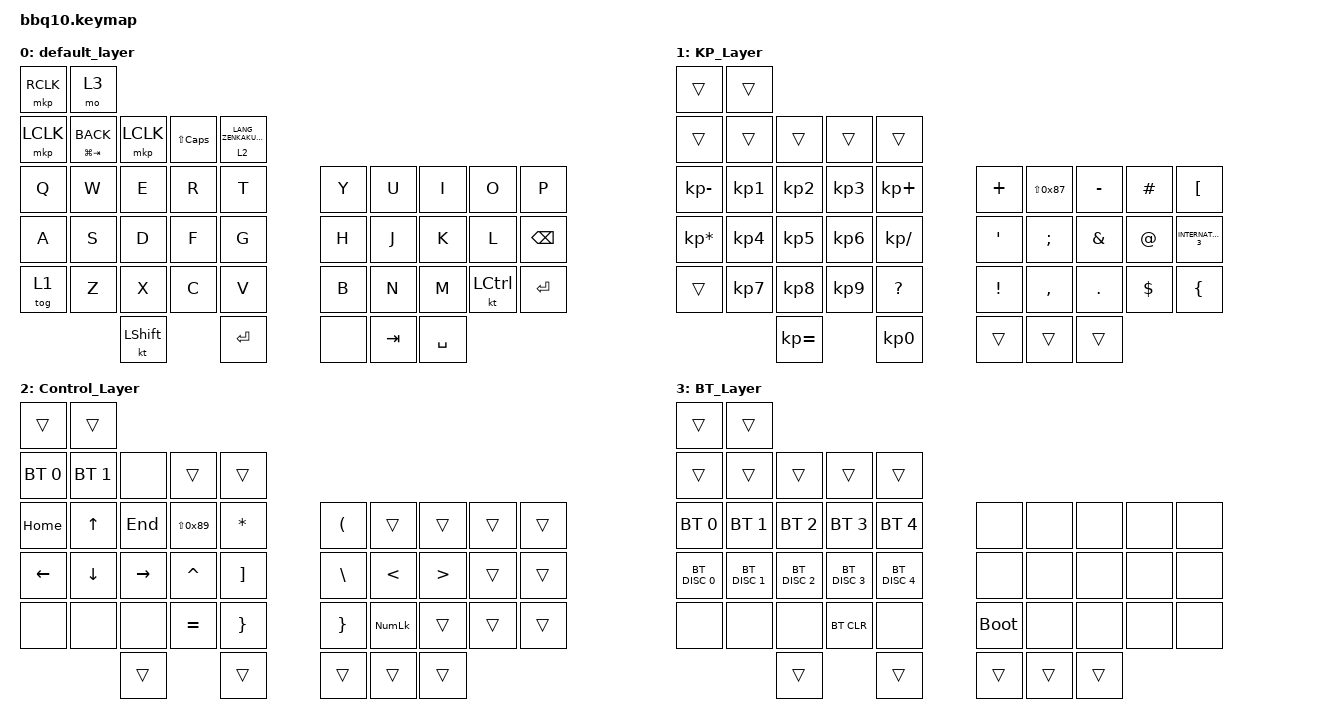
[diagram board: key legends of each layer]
/*
 * Copyright (c) 2023 ZitaoTech
 *
 * SPDX-License-Identifier: MIT
 */

#include <dt-bindings/zmk/mouse.h>
#include <behaviors.dtsi>
#include <dt-bindings/zmk/bt.h>
#include <dt-bindings/zmk/ext_power.h>
#include <dt-bindings/zmk/keys.h>
#include <dt-bindings/zmk/outputs.h>

// #include <dt-bindings/zmk/pointing.h>

#define SYM 1
#define UPPER 2
#define JP_DQUOTE       AT                // "
#define JP_AMPERSAND    CARET             // &
#define JP_QUOTE        AMPERSAND         // '
#define JP_EQUAL        UNDER             // =
#define JP_CARET        EQUAL             // ^
#define JP_YEN          0x89              // ¥
#define JP_PLUS         COLON             // +
#define JP_TILDE        PLUS              // ~
#define JP_PIPE         LS(0x89)          // |
#define JP_AT           LEFT_BRACKET      // @
#define JP_COLON        SINGLE_QUOTE      // :
#define JP_ASTERISK     DOUBLE_QUOTES     // *
#define JP_BACKQUOTE    LEFT_BRACE        // `
#define JP_UNDERSCORE   LS(0x87)          // _
#define JP_LBRACKET     RIGHT_BRACKET     // [
#define JP_RBRACKET     BACKSLASH         // ]
#define JP_LPAREN       ASTERISK          // (
#define JP_RPAREN       LEFT_PARENTHESIS  // )
#define JP_LBRACE       RIGHT_BRACE       // {
#define JP_RBRACE       PIPE              // }
#define JP_KANA         LANGUAGE_1        // かな
#define JP_EISU         LANGUAGE_2        // 英数
#define JP_HANZEN       GRAVE             // 半角/全角

/ {
    behaviors {
        td0: tap_dance_0 {
            compatible = "zmk,behavior-tap-dance";
            #binding-cells = <0>;
            tapping-term-ms = <400>;
            bindings = <&mkp LCLK>, <&bt BT_CLR>;
        };
    };

    behaviors {
        hm: homerow_mods {
            compatible = "zmk,behavior-hold-tap";
            #binding-cells = <2>;
            tapping-term-ms = <500>;
            bindings = <&out &kp>;
        };
    };

    behaviors {
        bhm: balanced_homerow_mods {
            compatible = "zmk,behavior-hold-tap";
            #binding-cells = <2>;
            flavor = "balanced";
            tapping-term-ms = <400>;
            bindings = <&ext_power>, <&kp>;
        };
    };

    keymap {
        compatible = "zmk,keymap";

        default_layer {
            bindings = <
&mkp RCLK  &mo 3
&mkp LCLK  &mt LG(TAB) K_BACK  &mkp LCLK  &kp LS(CAPS)  &lt 2 LANG_ZENKAKUHANKAKU
&kp Q      &kp W               &kp E      &kp R         &kp T                      &kp Y    &kp U    &kp I      &kp O      &kp P
&kp A      &kp S               &kp D      &kp F         &kp G                      &kp H    &kp J    &kp K      &kp L      &kp BACKSPACE
&tog 1     &kp Z               &kp X      &kp C         &kp V                      &kp B    &kp N    &kp M      &kt LCTRL  &kp ENTER
                               &kt LSHFT                &kp ENTER                  &none    &kp TAB  &kp SPACE
            >;
        };

        KP_Layer {
            bindings = <
&trans           &trans
&trans           &trans           &trans           &trans           &trans
&kp KP_MINUS     &kp KP_NUMBER_1  &kp KP_NUMBER_2  &kp KP_NUMBER_3  &kp KP_PLUS      &kp JP_TILDE     &kp JP_UNDERSCORE  &kp MINUS     &kp HASH       &kp JP_AT
&kp KP_ASTERISK  &kp KP_NUMBER_4  &kp KP_NUMBER_5  &kp KP_NUMBER_6  &kp KP_SLASH     &kp JP_COLON     &kp SEMICOLON      &kp JP_QUOTE  &kp JP_DQUOTE  &kp INTERNATIONAL_3
&trans           &kp KP_NUMBER_7  &kp KP_NUMBER_8  &kp KP_NUMBER_9  &kp QUESTION     &kp EXCLAMATION  &kp COMMA          &kp PERIOD    &kp DOLLAR     &kp JP_BACKQUOTE
                                  &kp KP_EQUAL                      &kp KP_NUMBER_0  &trans          &trans             &trans
            >;
        };

        Control_Layer {
            bindings = <
&trans          &trans
&bt BT_SEL 0    &bt BT_SEL 1    &none            &trans            &trans
&kp HOME        &kp UP_ARROW    &kp END          &kp JP_PIPE       &kp JP_LPAREN    &kp JP_RPAREN    &trans          &trans            &trans  &trans
&kp LEFT_ARROW  &kp DOWN_ARROW  &kp RIGHT_ARROW  &kp JP_AMPERSAND  &kp JP_LBRACKET  &kp JP_RBRACKET  &kp LESS_THAN   &kp GREATER_THAN  &trans  &trans
&none           &none           &none            &kp JP_CARET      &kp JP_LBRACE    &kp RIGHT_BRACE  &kp KP_NUMLOCK  &trans            &trans  &trans
                                &trans                             &trans                &trans                   &trans          &trans
            >;
        };

        BT_Layer {
            bindings = <
&trans         &trans
&trans         &trans         &trans          &trans         &trans
&bt BT_SEL 0   &bt BT_SEL 1   &bt BT_SEL 2    &bt BT_SEL 3   &bt BT_SEL 4   &none          &none   &none   &none  &none
&bt BT_DISC 0  &bt BT_DISC 1  &bt BT_DISC 2   &bt BT_DISC 3  &bt BT_DISC 4  &none          &none   &none   &none  &none
&none          &none          &none  &bt BT_CLR     &none          &bootloader    &none   &none   &none  &none
                              &trans                         &trans         &trans         &trans  &trans
            >;
        };
    };
};
